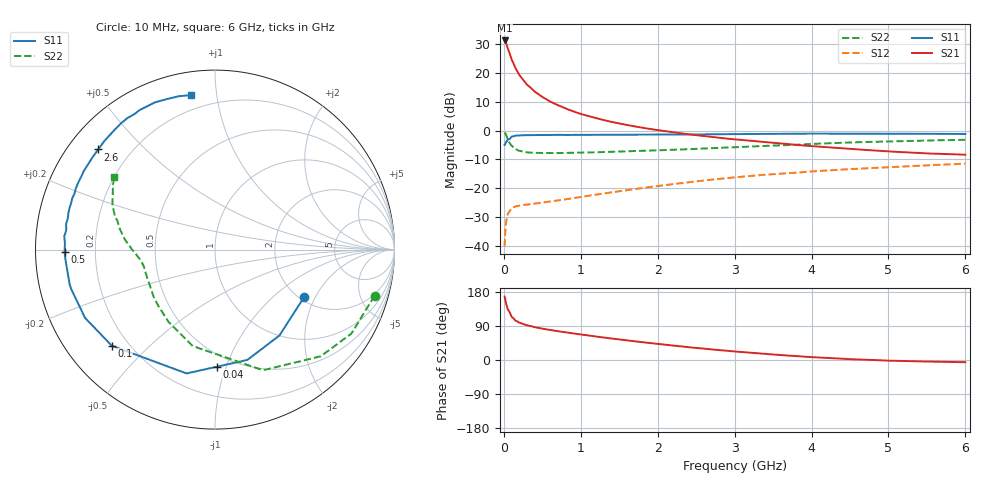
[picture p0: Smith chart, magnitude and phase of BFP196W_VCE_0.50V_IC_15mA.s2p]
! Infineon Technologies  Discrete & RF Semiconductors
! BFP196W
! VCE = 0.50V,  IC =  15mA
! Common Emitter S-Parameters:  Jan 2016
# GHz  S  MA  R  50
!  f  S11  S21  S12  S22
! GHz  MAG  ANG  MAG  ANG  MAG  ANG  MAG  ANG
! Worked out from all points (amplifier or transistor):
!   210 points, 10 MHz to 6 GHz, reference 50 ohm
!   highest |S21| = 31.2 dB at 10 MHz (marker M1)
!   |S21| within 3 dB of that: start of sweep to 55.53 MHz
!   unconditionally stable (mu >= 1): 909.2 MHz to end of sweep
!   at 185 MHz: K = 0.29, MSG = 23.1 dB, |S12| = -26.1 dB
!   at 1.52 GHz: K = 1.21, MAG = 8.9 dB, |S12| = -21.0 dB
!   at 6 GHz: K = 1.08, MAG = -0.1 dB, |S12| = -11.5 dB
!   S11 on the Smith chart (normalised r, x): 10 MHz: 2.13, -1.63; 40 MHz: 0.41, -0.93; 100 MHz: 0.14, -0.39; 500 MHz: 0.09, -0.01; 2.6 GHz: 0.09, +0.37; 6 GHz: 0.12, +0.85
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0.01  0.5629 -27.7  36.38 167.3  0.0099 77.7  0.9251 -16.1
0.02  0.5985 -53.2  35.16 157.8  0.0191 69.0  0.8927 -31.6
0.03  0.6406 -73.7  32.7 148.6  0.0263 60.8  0.8366 -45.3
0.04  0.6525 -89.0  29.57 141.9  0.0307 52.8  0.7645 -56.0
0.05  0.7079 -102.9  26.94 133.7  0.0355 46.9  0.7235 -68.3
0.1  0.7857 -137.0  17.11 114.2  0.0452 31.3  0.5516 -103.0
0.15  0.8178 -152.2  12.12 104.2  0.0485 25.3  0.479 -122.7
0.2  0.8221 -160.3  9.242 98.8  0.0497 23.4  0.4458 -134.8
0.24  0.8306 -164.6  7.857 95.6  0.051 22.8  0.434 -140.9
0.3  0.831 -169.5  6.254 91.7  0.052 22.9  0.418 -148.4
0.4  0.8345 -175.3  4.731 86.6  0.0542 24.4  0.4107 -155.6
0.5  0.8384 -179.2  3.817 82.6  0.0564 26.7  0.4081 -160.4
0.6  0.8366 177.8  3.19 79.0  0.0588 28.8  0.4072 -163.6
0.7  0.8431 174.9  2.76 76.0  0.0615 31.1  0.4067 -165.8
1.02  0.8391 167.7  1.905 66.9  0.0709 36.9  0.4147 -170.5
1.4  0.8452 160.3  1.412 56.6  0.0848 41.4  0.4275 -173.9
2.02  0.8521 149.1  1.008 42.1  0.1102 44.4  0.4538 -178.8
2.6  0.8572 139.4  0.802 29.9  0.1359 43.6  0.4876 176.0
3.1  0.8685 131.3  0.683 20.9  0.1585 41.1  0.5209 171.0
4.1  0.8833 117.2  0.525 6.6  0.1991 34.6  0.5924 160.8
5.1  0.8793 106.4  0.427 -2.2  0.2346 27.3  0.6522 150.7
6  0.8709 99.0  0.381 -5.8  0.2668 21.3  0.6902 144.3
